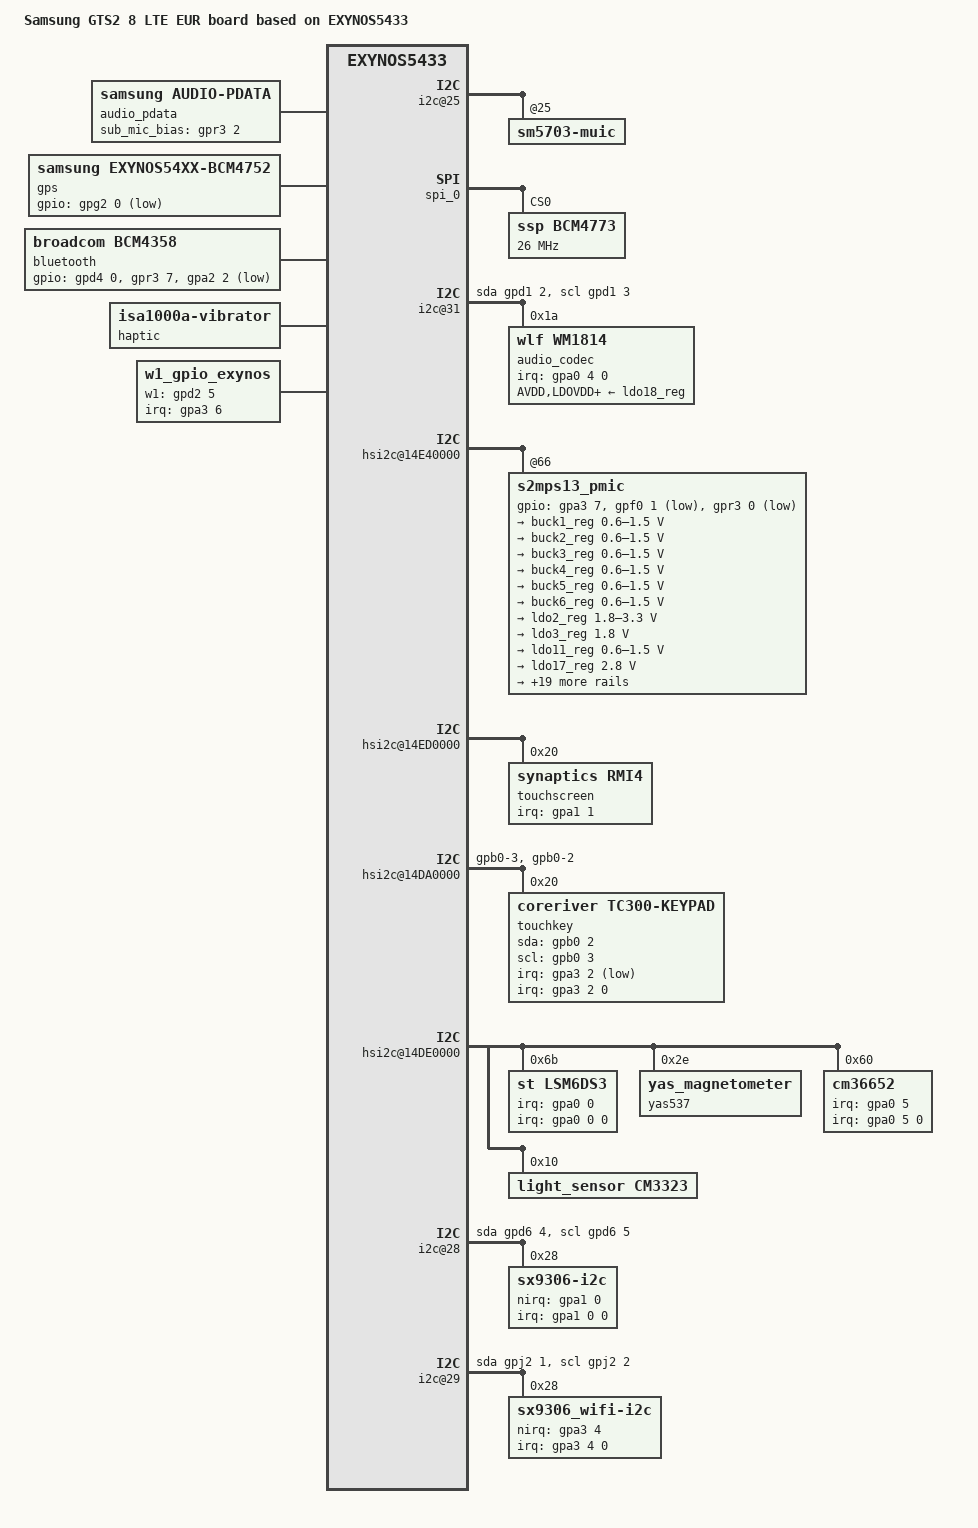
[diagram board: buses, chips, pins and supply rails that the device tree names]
/*
 * SAMSUNG UNIVERSAL5433 board device tree source
 *
 * Copyright (c) 2013 Samsung Electronics Co., Ltd.
 *		http://www.samsung.com
 *
 * This program is free software; you can redistribute it and/or modify
 * it under the terms of the GNU General Public License version 2 as
 * published by the Free Software Foundation.
*/
/dts-v1/;
#include "exynos5433-gts2_common.dtsi"
#include "exynos5433-gts28_gpio_03.dtsi"
#include "exynos5433-gts28_battery_03.dtsi"
#include "exynos5433-modem-ss333.dtsi"
#include "exynos5433-gts2_mhl2x.dtsi"
#include "exynos5433-trelte_fingerprint-sensor_00.dtsi"

/ {
	model = "Samsung GTS2 8 LTE EUR board based on EXYNOS5433";
	model_info-chip = <5433>;
	model_info-platform = "gts28";
	model_info-subtype = "gts28_eur_open";
	model_info-hw_rev = <3>;
	model_info-hw_rev_end = <255>;
	compatible = "samsung,GTS2 8 LTE 03", "samsung,exynos5433";

	i2c@25 {
		status = "okay";
		sm5703-muic@25 {
			status = "okay";
		};
	};

	spi_0: spi@14d20000 {
		#address-cells = <1>;
		#size-cells = <0>;
		pinctrl-names = "default";
		pinctrl-0 = <&spi0_mosi_sck_ssn &spi0_miso>;

		BCM4773@0 {
			compatible = "ssp,BCM4773";
			reg = <0>;
			spi-max-frequency = <26000000>;
			spi-cpol;
			spi-cpha;
			pinctrl-names = "default";
			pinctrl-0 = <&ssp_irq &ssp_mcu_req &ssp_mcu_resp>;

			gpio-controller;
			#gpio-cells = <2>;
			ssp-irq = <&gpa3 3 0x01>;
			ssp-mcu-req = <&gpf2 3 0x01>;
			ssp-mcu-resp = <&gpf2 2 0x00>;
			ssp-acc-position = <5>;
			ssp-mag-position = <3>;
			ssp-sns-combination = <0>;
			ssp,prox-hi_thresh = <130>;
			ssp,prox-low_thresh = <90>;
			ssp-ap-rev = <1>;
			ssp-mag-array = <10125 286 (-45) 342 10382 (-13) (-645) 818 9520>; /* Only for YAS532 */
			ssp-hw-rev = <8>;

			controller-data {
				cs-gpio = <&gpd8 1 0>;
				samsung,spi-feedback-delay = <0>;
				};
			};
	};

	i2c@31 {
		compatible = "i2c-gpio";
		gpios = <&gpd1 2 0    /* sda */
				  &gpd1 3 0   /* scl */
			>;

		i2c-gpio,delay-us = <2>;
		#address-cells = <1>;
		#size-cells = <0>;

		audio_codec: wm1814@1a {
			compatible = "wlf,wm1814";
			reg = <0x1a>;
			interrupts = <4 0 0>;
			interrupt-parent = <&gpa0>;

			gpio-controller;
			#gpio-cells = <2>;
			pinctrl-names = "default";
			pinctrl-0 = <&codec_reset &codec_ldoena &audio_ctrl &codec_irq>;
			wlf,reset = <&gpc0 7 0>;
			wlf,ldoena = <&gpf0 0 0>;
			wlf,init-mic-delay = <30>;
			wlf,micd-detect-debounce = <300>;
			wlf,micd-pol-gpio = <0>;
			wlf,micd-bias-start-time = <0x1>;
			wlf,micd-rate = <0x7>;
			wlf,micd-dbtime = <0x1>;
			wlf,micd-timeout = <1000>;
			wlf,micd-force-micbias;
			wlf,hpdet-moisture-imp = <2000>;
			wlf,hpdet-channel = <1>;
			wlf,hpdet-ext-res = <59>;
			wlf,hpdet-short-circuit-imp = <3>;
			wlf,micd-ranges = <
				139 226
				295 115
				752 114
				1257 217
			>;

			wlf,micd-configs = <
				0x0 1 0
			>;

			wlf,micbias1 = <2800 0 1 0 0>;
			wlf,micbias2 = <2800 0 1 0 0>;

			wlf,gpio-defaults = <
				0xA101
				0xA101
				0xA101
				0xA101
				0x8101
			>;

			wlf,gpsw = <0x3>;
			wlf,use-jd-gpio;
			wlf,jd-gpio-nopull;
			wlf,micd-software-compare;
			wlf,micd-open-circuit-declare = <1>;
			wlf,jd-wake-time = <5000>;

			wlf,max-channels-clocked = <2 0 0>;
			/* 0:MICVDD 1:MICBIAS1 2:MICBIAS2 3:MICBIAS3 */
			wlf,dmic-ref = <2 1 3 0>;
			/* 1st cell:IN1 2rd cell:IN2 3nd cell:IN3 4th cell:IN4 */
			wlf,inmode = <0 0 2 0>;
			/* 1st cell:OUT1 2nd cell:OUT2 3rd cell:OUT3... 6th cell:OUT6 */
			wlf,out-mono = <0 1 1 0 0 0>;

			AVDD-supply = <&ldo18_reg>;
			LDOVDD-supply = <&ldo18_reg>;
			DBVDD1-supply = <&ldo18_reg>;

			CPVDD-supply = <&ldo18_reg>;
			DBVDD2-supply = <&ldo18_reg>;
			DBVDD3-supply = <&ldo18_reg>;
			SPKVDDL-supply = <&ldo18_reg>;
			SPKVDDR-supply = <&ldo18_reg>;

		};
	};

	spi_3: spi@14d50000 {
		#address-cells = <1>;
		#size-cells = <0>;
		pinctrl-names = "default";
		pinctrl-0 = <&spi3_bus>;
		pinctrl-1 = <&spi3_cs>;
		status = "disabled";

		irled@0 {
			status = "disabled";
			compatible = "nochip,irled";
			reg = <0>;
			spi-max-frequency = <5000000>;
			irled,default_hz = <38000>;
			irled,high_bit_size = <6>;
			irled,power_type = "LDO";
			irled,ldo = <&gpr3 3 0>;

			controller-data {
				cs-gpio = <&gpg3 5 0>;
				samsung,spi-feedback-delay = <0>;
				samsung,spi-chip-select-mode = <0>;
			};
		};
	};

	audio_pdata {
		compatible = "samsung,audio-pdata";
		sub_mic_bias_gpio = <&gpr3 2 0>;
		status = "okay";
	};

	pinctrl@11090000 {
		codec_ldoena: codec-ldoena {
			samsung,pins ="gpf0-0";
			samsung,pin-con-pdn =<3>;
		};
	};

	pinctrl@14CC0000 {
		codec_reset: codec-reset {
			samsung,pins ="gpc0-7";
			samsung,pin-function = <1>;
			samsung,pin-pud = <1>;
			samsung,pin-con-pdn =<3>;
			samsung,pin-pud-pdn = <1>;
		};

		codec_i2c: codec-i2c {
			samsung,pins = "gpd1-2", "gpd1-3";
			//samsung,pin-function = <1>;//HSI2C_3_SDA( GPD1[2]) , HSI2C_3_SCL( GPD1[3])
			//samsung,pin-pud = <1>; // 0 (pull_none) 1 (pull_down) 3 (pull_up)

		};
	};

	pinctrl@15690000{
		audio_ctrl: audio-ctl {
			samsung,pins ="gpr3-2";
			samsung,pin-con-pdn =<3>;
		};
	};

	pinctrl@10580000 {
		codec_irq: codec-irq {
			samsung,pins = "gpa0-4";
			samsung,pin-pud = <0>;
		};
	};

	gps {
		compatible = "samsung,exynos54xx-bcm4752";
		pinctrl-0 = <&ssp_gps_pwr_en>;
		gpios = <&gpg2 0 0x1>;
		status = "okay";
	};

	pinctrl@114B0000 {
		uart_aud_rts: uart-aud-rts {
			samsung,pins = "gpz1-3";
			samsung,pin-function = <2>;
			samsung,pin-pud = <0>;
			samsung,pin-con-pdn = <1>;
			samsung,pin-pud-pdn = <0>;
		};

		uart_aud_cts: uart-aud-cts {
			samsung,pins = "gpz1-2";
			samsung,pin-function = <2>;
			samsung,pin-pud = <0>;
			samsung,pin-con-pdn = <2>;
			samsung,pin-pud-pdn = <0>;
		};

		uart_aud_rx: uart-aud-rx {
			samsung,pins = "gpz1-1";
			samsung,pin-function = <2>;
			samsung,pin-pud = <0>;
			samsung,pin-con-pdn = <2>;
			samsung,pin-pud-pdn = <0>;
		};

		uart_aud_tx: uart-aud-tx {
			samsung,pins = "gpz1-0";
			samsung,pin-function = <2>;
			samsung,pin-pud = <0>;
			samsung,pin-con-pdn = <1>;
			samsung,pin-pud-pdn = <0>;
		};
	};

	serial@11460000 {
		pinctrl-0 = <&uart_aud_rts &uart_aud_cts &uart_aud_rx &uart_aud_tx>;
		pinctrl-1 = <&uart_aud_rx &uart_aud_tx &uart_aud_bus_idle>;
	};

	pinctrl@14CC0000 {
		cfg_en: cfg-en {
			samsung,pins ="gpd4-0";
			samsung,pin-function = <1>;
			samsung,pin-pud = <1>;
			samsung,pin-con-pdn = <3>;
			samsung,pin-pud-pdn = <1>;
		};
	};

	pinctrl@10580000{
		cfg_hostwake: cfg-hostwake {
			samsung,pins = "gpa2-2";
			samsung,pin-function = <0>;
			samsung,pin-pud = <0>;
			samsung,pin-con-pdn = <2>;
			samsung,pin-pud-pdn = <0>;
		};
	};

	pinctrl@15690000{
		cfg_btwake: cfg-btwake {
			samsung,pins = "gpr3-7";
			samsung,pin-function = <1>;
			samsung,pin-pud = <0>;
			samsung,pin-con-pdn = <0>;
			samsung,pin-pud-pdn = <1>;
		};
	};

	bluetooth {
		compatible = "broadcom,bcm4358";

		gpios = <&gpd4 0 0	/*BT_EN*/
				&gpr3 7 0	/*BT_WAKE*/
				&gpa2 2 0xF	/*BT_HOST_WAKE*/ >;

		pinctrl-names = "default";
		pinctrl-0=<&cfg_hostwake &cfg_btwake &cfg_en>;
		status = "okay";
	};

	pinctrl@15690000 {
		pm_dvs_en: pm-dvs-en {
			samsung,pins = "gpr3-0";
			samsung,pin-pud = <0>;
		};
	};

	pinctrl@11090000 {
		pm_g3d_en: pm-g3d-en {
			samsung,pins = "gpf0-1";
			samsung,pin-pud = <3>;
		};
	};

	hsi2c@14E40000 {
		s2mps13_pmic@66 {
			pinctrl-names = "default";
			pinctrl-0 = <&pm_g3d_en &pm_dvs_en &pmic_irq &pm_wrsti &gpa3_pull_up>;
			gpios = <&gpa3 7 0>, <&gpf0 1 0x1>, <&gpr3 0 0x1>;
			g3d_en = <1>; /* 1 : enable , 0 : disable */
			smpl_warn_vth = <0xd8>; /* LowBat_Level: 2.9V LowBat_Hys: 400mV */
			regulators {
				buck1_reg: BUCK1 {
					regulator-name = "vdd_mif";
					regulator-min-microvolt = <600000>;
					regulator-max-microvolt = <1500000>;
					regulator-always-on;
					regulator-boot-on;
					regulator-ramp-delay = <12000>;
					regulator-initial-mode = <1>;
				};

				buck2_reg: BUCK2 {
					regulator-name = "vdd_eagle";
					regulator-min-microvolt = <600000>;
					regulator-max-microvolt = <1500000>;
					regulator-always-on;
					regulator-boot-on;
					regulator-ramp-delay = <12000>;
					regulator-initial-mode = <1>;
				};

				buck3_reg: BUCK3 {
					regulator-name = "vdd_kfc";
					regulator-min-microvolt = <600000>;
					regulator-max-microvolt = <1500000>;
					regulator-always-on;
					regulator-boot-on;
					regulator-ramp-delay = <12000>;
					regulator-initial-mode = <1>;
				};

				buck4_reg: BUCK4 {
					regulator-name = "vdd_int";
					regulator-min-microvolt = <600000>;
					regulator-max-microvolt = <1500000>;
					regulator-always-on;
					regulator-boot-on;
					regulator-ramp-delay = <12000>;
					regulator-initial-mode = <1>;
				};

				buck5_reg: BUCK5 {
					regulator-name = "vdd_disp_cam0";
					regulator-min-microvolt = <600000>;
					regulator-max-microvolt = <1500000>;
					regulator-always-on;
					regulator-boot-on;
					regulator-ramp-delay = <12000>;
					regulator-initial-mode = <1>;
				};

				buck6_reg: BUCK6 {
					regulator-name = "vdd_g3d";
					regulator-min-microvolt = <600000>;
					regulator-max-microvolt = <1500000>;
					regulator-always-on;
					regulator-boot-on;
					regulator-ramp-delay = <12000>;
					regulator-initial-mode = <1>;
				};

				ldo2_reg: LDO2 {
					regulator-name = "vqmmc";
					regulator-min-microvolt = <1800000>;
					regulator-max-microvolt = <3300000>;
					regulator-boot-on;
					regulator-ramp-delay = <12000>;
					regulator-initial-mode = <1>;
				};

				ldo3_reg: LDO3 {
					regulator-name = "VDD1_E_1.8V_AP";
					regulator-min-microvolt = <1800000>;
					regulator-max-microvolt = <1800000>;
					regulator-always-on;
				};

				ldo11_reg: LDO11 {
					regulator-name = "vdd_int_m";
					regulator-min-microvolt = <600000>;
					regulator-max-microvolt = <1500000>;
					regulator-always-on;
					regulator-boot-on;
					regulator-ramp-delay = <12000>;
					regulator-initial-mode = <1>;
				};

				ldo17_reg: LDO17 {
					regulator-name = "vmmc";
					regulator-min-microvolt = <2800000>;
					regulator-max-microvolt = <2800000>;
				};

				ldo18_reg: LDO18 {
					regulator-name = "V_CODEC_1.8V_AP";
					regulator-min-microvolt = <1800000>;
					regulator-max-microvolt = <1800000>;
					regulator-always-on;
					regulator-initial-mode = <3>;
				};

				ldo19_reg: LDO19 {
					regulator-name = "GRIP_1.8V";
					regulator-min-microvolt = <1800000>;
					regulator-max-microvolt = <1800000>;
					regulator-always-on;
					regulator-boot-on;
				};

				ldo21_reg: LDO21 {
					regulator-name = "VT_CAM_1.8V";
					regulator-min-microvolt = <1800000>;
					regulator-max-microvolt = <1800000>;
				};

				ldo22_reg: LDO22 {
					regulator-name = "CAM_IO_1.8V_AP";
					regulator-min-microvolt = <1800000>;
					regulator-max-microvolt = <1800000>;
				};

				ldo23_reg: LDO23 {
					regulator-name = "CAM_SEN_CORE_1.2V_AP";
					regulator-min-microvolt = <1050000>;
					regulator-max-microvolt = <1200000>;
				};

				ldo24_reg: LDO24 {
					regulator-name = "VT_CAM_1.2V";
					regulator-min-microvolt = <1200000>;
					regulator-max-microvolt = <1200000>;
				};

				ldo25_reg: LDO25 {
					regulator-name = "VCI_3.0V";
					regulator-min-microvolt = <3000000>;
					regulator-max-microvolt = <3000000>;
					regulator-boot-on;
				};

				ldo26_reg: LDO26 {
					regulator-name = "CAM_AF_2.8V_AP";
					regulator-min-microvolt = <2800000>;
					regulator-max-microvolt = <2800000>;
				};

				ldo30_reg: LDO30 {
				        regulator-name = "tsp_avdd";
				        regulator-min-microvolt = <3300000>;
				        regulator-max-microvolt = <3300000>;
				};

				ldo31_reg: LDO31 {
				        regulator-name = "tsp_io";
				        regulator-min-microvolt = <1850000>;
				        regulator-max-microvolt = <1850000>;
				        regulator-initial-mode = <3>;
				};

				ldo32_reg: LDO32 {
					regulator-name = "vtouch_1.8v";
					regulator-min-microvolt = <1800000>;
					regulator-max-microvolt = <1800000>;
					regulator-boot-on;
				};

				ldo33_reg: LDO33 {
					regulator-name = "vtouch_3.3v";
					regulator-min-microvolt = <3300000>;
					regulator-max-microvolt = <3300000>;
					regulator-boot-on;
				};

				ldo34_reg: LDO34 {
					regulator-name = "VCC_1.8V_MHL";
					regulator-min-microvolt = <1800000>;
					regulator-max-microvolt = <1800000>;
				};

				ldo35_reg: LDO35 {
					regulator-name = "VCC_3.0V_MOTOR_AP";
					regulator-min-microvolt = <3000000>;
					regulator-max-microvolt = <3000000>;
				};

				ldo36_reg: LDO36 {
					regulator-name = "VSIL_1.2A";
					regulator-min-microvolt = <1200000>;
					regulator-max-microvolt = <1200000>;
				};

				ldo37_reg: LDO37 {
					regulator-name = "VDDR_1.6V";
					regulator-min-microvolt = <1600000>;
					regulator-max-microvolt = <1600000>;
					regulator-boot-on;
				};

				ldo38_reg: LDO38 {
					regulator-name = "VCC_3.3V_MHL";
					regulator-min-microvolt = <3300000>;
					regulator-max-microvolt = <3300000>;
				};

				ldo39_reg: LDO39 {
					regulator-name = "VDD3_1.8V";
					regulator-min-microvolt = <1800000>;
					regulator-max-microvolt = <1800000>;
					regulator-boot-on;
				};

				ldo40_reg: LDO40 {
					regulator-name = "VLED_2.8V";
					regulator-min-microvolt = <2800000>;
					regulator-max-microvolt = <2800000>;
				};
			};
		};
	};

	pinctrl@14CC0000 {
		vibetonz_pwm: vibetonz-pwm {
		      samsung,pins = "gpd2-4";
		      samsung,pin-function = <2>;
		      samsung,pin-pud = <0>;
		      samsung,pin-drv = <0>;
	      };
	};

	pinctrl@10580000 {
		attn_irq: attn-irq {
			samsung,pins = "gpa1-1";
			samsung,pin-function = <0xf>;
			samsung,pin-pud = <0>;
			samsung,pin-drv = <0>;
		};

		attn_input: attn-input {
			samsung,pins = "gpa1-1";
			samsung,pin-function = <0>;
			samsung,pin-pud = <1>;
			samsung,pin-drv = <0>;
		};
	};

	hsi2c@14ED0000 {
		samsung,i2c-sda-delay = <100>;
		samsung,i2c-max-bus-freq = <400000>;
		status = "okay";
		touchscreen@20 {
			compatible = "synaptics,rmi4";
			reg = <0x20>;
			pinctrl-names = "on_state", "off_state";
			pinctrl-0 = <&attn_irq>;
			pinctrl-1 = <&attn_input>;
			synaptics,irq_gpio = <&gpa1 1 0>;
			synaptics,irq_type = <8200>;
			synaptics,max_coords = <1536 2048>;	/* x y */
			synaptics,num_lines = <41 31>;		/* rx tx */
			synaptics,regulator_dvdd = "tsp_io";
			synaptics,regulator_avdd = "tsp_avdd";
			synaptics,project_name = "GTS28","T715";
			synaptics,firmware_name = "tsp_synaptics/synaptics_5807_gts28.fw";
		};
	};

	pinctrl@14CC0000 {
		/* touchkey i2c*/
		hs_i2c9_bus: hs-i2c9-bus {
			samsung,pins = "gpb0-3", "gpb0-2";
			samsung,pin-function = <4>;
			samsung,pin-pud = <3>;
			samsung,pin-drv = <0>;
		};
		cfg_i2c: cfg-i2c {
			samsung,pins = "gpb0-3", "gpb0-2";
			samsung,pin-function = <4>;
			samsung,pin-pud = <0>;
			samsung,pin-drv = <0>;
		};
		cfg_gpio: cfg_gpio {
			samsung,pins = "gpb0-3", "gpb0-2";
			samsung,pin-function = <0>;
			samsung,pin-pud = <0>;
			samsung,pin-drv = <0>;
		};
	};

	pinctrl@14CC0000 {
		/* touchkey i2c*/
		hs_i2c9_bus: hs-i2c9-bus {
			samsung,pins = "gpb0-3", "gpb0-2";
			samsung,pin-function = <4>;
			samsung,pin-pud = <3>;
			samsung,pin-drv = <0>;
		};
		cfg_i2c: cfg-i2c {
			samsung,pins = "gpb0-3", "gpb0-2";
			samsung,pin-function = <4>;
			samsung,pin-pud = <3>;
			samsung,pin-drv = <0>;
		};
		cfg_gpio: cfg_gpio {
			samsung,pins = "gpb0-3", "gpb0-2";
			samsung,pin-function = <2>;
			samsung,pin-pud = <0>;
			samsung,pin-drv = <0>;
		};
	};

	hsi2c@14DA0000 {
		status = "okay";
		pinctrl-names = "default","on_i2c","off_i2c";
		pinctrl-0 = <&hs_i2c9_bus>;
		pinctrl-1 = <&cfg_i2c>;
		pinctrl-2 = <&cfg_gpio>;
		touchkey@20 {
			pinctrl-names = "default";
			pinctrl-0 = <&cfg_irq>;
			compatible = "coreriver,tc300-keypad";
			reg = <0x20>;
			interrupts = <2 0 0>;
			interrupt-parent = <&gpa3>;
			coreriver,sda-gpio = <&gpb0 2 0>;
			coreriver,scl-gpio = <&gpb0 3 0>;
			coreriver,irq-gpio = <&gpa3 2 1>;
			coreriver,regulator_ic = "vtouch_1.8v";
			coreriver,regulator_led = "vtouch_3.3v";
			coreriver,fw_name = "coreriver/tc350k_gts28.fw";
			coreriver,sensing_ch_num = <0x4>;
			coreriver,tsk_ic_num = <0x1>; /* tc300k : 0x00, tc350k : 0x01 */
			coreriver,use_bitmap = <1>;
		};
	};

	hsi2c@14DE0000 {
		samsung,i2c-sda-delay = <100>;
		samsung,i2c-max-bus-freq = <400000>;
		status = "okay";
		lsm6ds3@6b {
			compatible = "st,lsm6ds3";
			reg = <0x6b>;
			pinctrl-names = "default";
			interrupt-parent = <&gpa0>;
			interrupts = <0 0 0>;

			st,drdy-int-pin = <1>;
			st,irq_gpio = <&gpa0 0 0x00>;
			st,orientation = <1 2 1 2 1 1 1 1 0>;
		};
		yas537@2e {
			compatible = "yas_magnetometer";
			reg = <0x2e>;
			yas,orientation = <7>;
		};
		cm36652@60 {
			compatible = "cm36652";
			reg = <0x60>;
			interrupt-parent = <&gpa0>;
			interrupts = <5 0 0>;
			cm36652,irq_gpio = <&gpa0 5 0x00>;
			cm36652,default_hi_thd = <20>;
			cm36652,default_low_thd = <17>;
			cm36652,cancel_hi_thd = <10>;
			cm36652,cancel_low_thd = <7>;
		};
		cm3323@10 {
			compatible = "light_sensor,cm3323";
			reg = <0x10>;
		};
	};

	i2c@28 {
		compatible = "i2c-gpio";
		gpios = <&gpd6 4 0    /* sda */
				  &gpd6 5 0   /* scl */
			>;

		i2c-gpio,delay-us = <2>;
		#address-cells = <1>;
		#size-cells = <0>;

		sx9306-i2c@28 {
			compatible = "sx9306-i2c";
			reg = <0x28>;
			pinctrl-names = "default";
			interrupts = <0 0 0>;
			interrupt-parent = <&gpa1>;
			sx9306-i2c,nirq-gpio = <&gpa1 0 0x00>;
		};
	};

	i2c@29 {
		compatible = "i2c-gpio";
		gpios = <&gpj2 1 0    /* sda */
				  &gpj2 2 0   /* scl */
			>;

		i2c-gpio,delay-us = <2>;
		#address-cells = <1>;
		#size-cells = <0>;

		sx9306_wifi-i2c@28 {
			compatible = "sx9306_wifi-i2c";
			reg = <0x28>;
			pinctrl-names = "default";
			interrupts = <4 0 0>;
			interrupt-parent = <&gpa3>;
			sx9306_wifi-i2c,nirq-gpio = <&gpa3 4 0x00>;
		};
	};

	pinctrl@10580000 {
		cover_irq: cover-irq {
			samsung,pins = "gpa3-6";
			samsung,pin-function = <0xf>;
			samsung,pin-pud = <0>;
			samsung,pin-pud-pdn =<0>;
			samsung,pin-drv = <0>;
		};
	};

	haptic {
		status = "okay";
		compatible = "isa1000a-vibrator";
		pinctrl-names = "default";
		pinctrl-0 = <&motor_en>;
		haptic,max_timeout = <10000>;
		haptic,duty = <32448>;
		haptic,period = <33814>;
		haptic,reg2 = <0x82>;
		haptic,pwm_id = <0>;
		haptic,en = <&gpc0 1 0>;
		haptic,regulator_name = "VCC_3.0V_MOTOR_AP";
	};

	pinctrl@14CC0000 {
		motor_en: motor_en {
			samsung,pins = "gpc0-1";
			samsung,pin-function = <2>;
			samsung,pin-pud = <1>;
			samsung,pin-drv = <0>;
		};
	};

	w1_gpio_exynos {
		status = "okay";
		compatible = "w1_gpio_exynos";
		pinctrl-names = "default";
		pinctrl-0 = <&cover_irq>;
		is_open_drain = <1>;
		slave_speed = <1>;
		register_addr = <0x14CC0120>;
		register_num = <5>;
		w1,gpio = <&gpd2 5 0>;
		w1,irq-gpio = <&gpa3 6 0>;
	};

	hsi2c@14EC0000 {
		/delete-node/ adpd142@64;
	};

	pinctrl@14CC0000 {
		disp_errfg: disp_errfg {
			samsung,pins = "gpb0-4";
			samsung,pin-function = <0xf>;
			samsung,pin-pud = <1>;
		};
		disp_errfg_off: disp_errfg_off {
			samsung,pins = "gpb0-4";
			samsung,pin-function = <1>;
			samsung,pin-pud = <1>;
			samsung,pin-val = <0>;
		};
	};

	/* disp_driver */
	decon_fb: decon_fb {
		oled-errfg-gpio = <&gpb0 4 0xf>;
		lcd_info = <&s6e3ha2>;

		pinctrl-names = "default", "turnon_tes", "turnoff_tes", "errfg_off";
		pinctrl-0 = <&disp_errfg>;
		pinctrl-1 = <&disp_errfg &disp_teson>;
		pinctrl-2 = <&disp_tesoff>;
		pinctrl-3 = <&disp_errfg_off &disp_teson>;

		s6e3ha2: s6e3ha2_qxga {
			mode = <0>;
			resolution = <1536 2048>;
			size = <122 163>;
			timing,refresh = <60>;
			timing,h-porch = <1 1 1>;
			timing,v-porch = <15 1 1>;
			timing,dsi-hs-clk = <1024>;
			timing,dsi-escape-clk = <16>;
			mic = <1>;
		};

		enable_display_driver_power {
			type = "REGULATOR", "DELAY", "REGULATOR", "REGULATOR", "DELAY", "PINCTRL", "PINCTRL";
			subtype = "ENABLE", "USLEEP", "ENABLE", "ENABLE", "USLEEP", "default", "turnon_tes";
			delay = <5000 6000>, <10000 11000>;
			regulator = "VDD3_1.8V", "VCI_3.0V", "VDDR_1.6V";
		};
		disable_display_driver_power {
			type = "GPIO", "REGULATOR", "DELAY", "REGULATOR", "REGULATOR", "PINCTRL";
			subtype = "LOW", "DISABLE", "USLEEP", "DISABLE", "DISABLE", "turnoff_tes";
			gpios = <&gpg0 0 0x1>;
			delay = <5000 6000>;
			regulator = "VDDR_1.6V", "VCI_3.0V", "VDD3_1.8V";
		};
		reset_display_driver_panel {
			type = "GPIO", "DELAY", "GPIO", "DELAY", "GPIO", "DELAY";
			subtype = "HIGH", "USLEEP", "LOW", "USLEEP", "HIGH", "USLEEP";
			gpios = <&gpg0 0 0x1>, <&gpg0 0 0x1>, <&gpg0 0 0x1>;
			delay = <5000 6000>, <5000 6000>, <10000 11000>;
		};
	};

	fimc_is_sensor0: fimc_is_sensor@12100000 {
		gpios_cam_en = <&gpf4 7 0x1>;
	};

	fimc_is_sensor1: fimc_is_sensor@12110000 {
		gpios_cam_en = <&gpr3 3 0x1>;
	};
};
